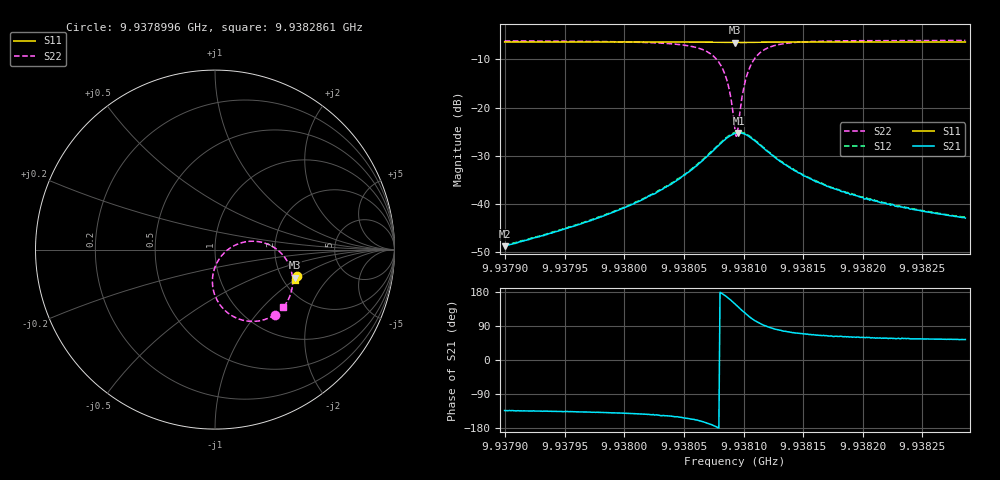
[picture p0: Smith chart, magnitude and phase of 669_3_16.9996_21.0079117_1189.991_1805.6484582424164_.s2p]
#  HZ  S  RI  R  50.00
! Rohde & Schwarz Vector Network Analyzer
! Rohde-Schwarz,ZNB20-2Port,1311601062101988,3.16
! Created: UTC 3/20/2024, 11:22:05 PM
! freq[Hz]  re:S11  im:S11  re:S21  im:S21  re:S12  im:S12  re:S22  im:S22
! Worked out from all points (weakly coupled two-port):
!   401 points, 9.9378996 GHz to 9.9382861 GHz, reference 50 ohm
!   highest |S21| = -25.22 dB at 9.9380958 GHz (marker M1); lowest = -48.7 dB at 9.9378996 GHz (marker M2)
!   lowest |S11| = -6.5 dB at 9.9380929 GHz (marker M3), VSWR 2.80, Z = 117 - j47.6 ohm
!   |S11| at or under -10 dB: nowhere
!   |S22| runs from -25.9 to -6.1 dB; largest |S21 - S12| = 0.0019
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9.93789963e9  0.458 -0.1474  -0.00251 -0.00267  -0.00262 -0.00267  0.3339 -0.3622
9.93796436e9  0.4559 -0.1519  -0.00462 -0.00429  -0.00474 -0.00428  0.3116 -0.3751
9.93800011e9  0.4548 -0.1545  -0.00706 -0.00583  -0.00728 -0.00582  0.2879 -0.3857
9.93802909e9  0.4536 -0.1568  -0.0113 -0.00775  -0.0116 -0.00774  0.2504 -0.3965
9.93806001e9  0.4514 -0.1591  -0.0229 -0.00907  -0.0235 -0.00902  0.1531 -0.3931
9.93807643e9  0.4491 -0.16  -0.0375 -0.00316  -0.0384 -0.00286  0.0416 -0.3247
9.93808223e9  0.4479 -0.1595  -0.0439 0.00403  -0.0447 0.00486  0.000334 -0.2573
9.93808609e9  0.4474 -0.159  -0.0471 0.0115  -0.0479 0.0126  -0.0139 -0.1918
9.93808899e9  0.447 -0.1583  -0.048 0.0186  -0.0487 0.0199  -0.0103 -0.1338
9.93809285e9  0.4469 -0.1572  -0.0458 0.0288  -0.0463 0.0304  0.0214 -0.0553
9.93809382e9  0.447 -0.1571  -0.0447 0.031  -0.045 0.0329  0.0347 -0.0368
9.93809575e9  0.4472 -0.1567  -0.0417 0.0356  -0.0417 0.0375  0.0658 -0.00478
9.93809962e9  0.4479 -0.156  -0.0333 0.0425  -0.033 0.0441  0.1434 0.0369
9.93810252e9  0.4485 -0.1555  -0.0261 0.0451  -0.0256 0.0467  0.2051 0.0467
9.93810638e9  0.4495 -0.1555  -0.017 0.0455  -0.0164 0.0467  0.2778 0.0358
9.93811121e9  0.4506 -0.1559  -0.00806 0.0428  -0.00718 0.0438  0.3454 0.000472
9.93811797e9  0.4514 -0.157  -0.000487 0.037  0.000513 0.0377  0.3987 -0.0583
9.93812667e9  0.4518 -0.1583  0.00462 0.03  0.00523 0.0302  0.4258 -0.1221
9.93815758e9  0.4518 -0.1617  0.00719 0.0165  0.00756 0.0165  0.4252 -0.2355
9.93819623e9  0.4507 -0.1648  0.00595 0.0105  0.00618 0.0104  0.4056 -0.2839
9.93822231e9  0.45 -0.1667  0.00536 0.00843  0.00562 0.00843  0.3958 -0.3001
9.93828608e9  0.4481 -0.1711  0.00421 0.00581  0.0044 0.00584  0.3804 -0.3214
